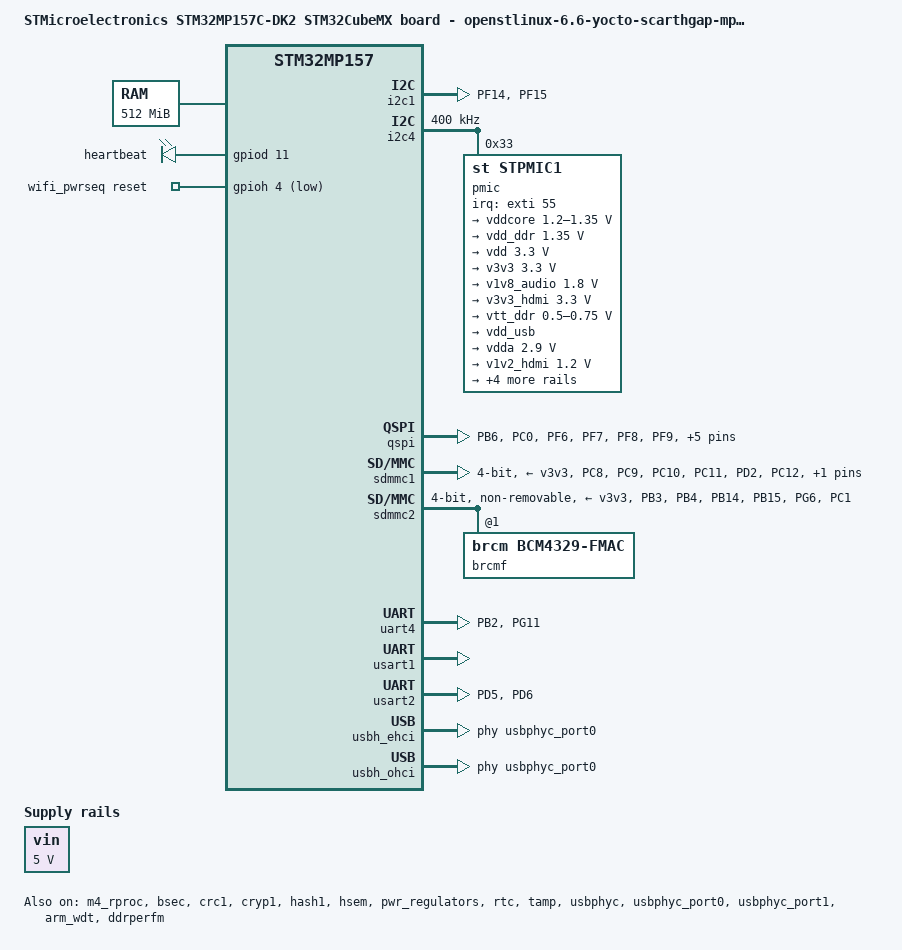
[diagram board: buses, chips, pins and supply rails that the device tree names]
// SPDX-License-Identifier: (GPL-2.0-or-later OR BSD-3-Clause)
/*
 * Copyright (C) 2026, STMicroelectronics - All Rights Reserved
 * Author: STM32CubeMX code generation for STMicroelectronics.
 */

/* For more information on Device Tree configuration, please refer to
 * https://wiki.st.com/stm32mpu/wiki/Category:Device_tree_configuration
 */

/dts-v1/;

#include <dt-bindings/pinctrl/stm32-pinfunc.h>
#include "stm32mp157.dtsi"
#include "stm32mp15xc.dtsi"
#include "stm32mp15xxac-pinctrl.dtsi"
#include "stm32mp15-m4-srm.dtsi"
#include "stm32mp15-scmi.dtsi"

/* USER CODE BEGIN includes */
#include <dt-bindings/gpio/gpio.h>
#include <dt-bindings/mfd/st,stpmic1.h>
#include <dt-bindings/rtc/rtc-stm32.h>
#include "stm32mp15-pinctrl.dtsi"
/* USER CODE END includes */

/ {
	model = "STMicroelectronics STM32MP157C-DK2 STM32CubeMX board - openstlinux-6.6-yocto-scarthgap-mpu-v25.06.11";
	compatible = "st,stm32mp157c-cube-mx", "st,stm32mp157c-dk2", "st,stm32mp157";

	memory@c0000000 {
		device_type = "memory";
		reg = <0xc0000000 0x20000000>;

		/* USER CODE BEGIN memory */
		/* USER CODE END memory */
	};

	reserved-memory {
		#address-cells = <1>;
		#size-cells = <1>;
		ranges;

		/* USER CODE BEGIN reserved-memory */

		mcuram2:mcuram2@10000000{
			compatible = "shared-dma-pool";
			reg = <0x10000000 0x40000>;
			no-map;
		};

		vdev0vring0:vdev0vring0@10040000{
			compatible = "shared-dma-pool";
			reg = <0x10040000 0x1000>;
			no-map;
		};

		vdev0vring1:vdev0vring1@10041000{
			compatible = "shared-dma-pool";
			reg = <0x10041000 0x1000>;
			no-map;
		};

		vdev0buffer:vdev0buffer@10042000{
			compatible = "shared-dma-pool";
			reg = <0x10042000 0x4000>;
			no-map;
		};

		mcu_rsc_table:mcu-rsc-table@10048000{
			compatible = "shared-dma-pool";
			reg = <0x10048000 0x8000>;
			no-map;
		};

		mcuram:mcuram@30000000{
			compatible = "shared-dma-pool";
			reg = <0x30000000 0x40000>;
			no-map;
		};

		retram:retram@38000000{
			compatible = "shared-dma-pool";
			reg = <0x38000000 0x10000>;
			no-map;
		};

		gpu_reserved:gpu@d4000000{
			reg = <0xd4000000 0x4000000>;
			no-map;
		};

		linux,cma{
			compatible = "shared-dma-pool";
			reusable;
			size = <0x8000000>;
			alignment = <0x2000>;
			linux,cma-default;
		};

		optee@de000000{
			reg = <0xde000000 0x2000000>;
			no-map;
		};
		/* USER CODE END reserved-memory */
	};

	/* USER CODE BEGIN root */

	aliases{
		ethernet0 = &ethernet0;
		serial0 = &uart4;
		serial1 = &usart3;
		serial2 = &uart7;
		serial3 = &usart2;
	};

	led{
		compatible = "gpio-leds";

		led-blue{
			label = "heartbeat";
			gpios = <&gpiod 11 GPIO_ACTIVE_HIGH>;
			linux,default-trigger = "heartbeat";
			default-state = "off";
		};
	};

	vin:vin{
		compatible = "regulator-fixed";
		regulator-name = "vin";
		regulator-min-microvolt = <5000000>;
		regulator-max-microvolt = <5000000>;
		regulator-always-on;
	};

	chosen{
		#address-cells = <1>;
		#size-cells = <1>;
		ranges;
		stdout-path = "serial0:115200n8";

		framebuffer {
			compatible = "simple-framebuffer";
			clocks = <&rcc LTDC_PX>, <&rcc DSI>, <&rcc DSI_PX>;
			status = "disabled";
		};
	};

	wifi_pwrseq:wifi-pwrseq{
		compatible = "mmc-pwrseq-simple";
		reset-gpios = <&gpioh 4 GPIO_ACTIVE_LOW>;
	};
	/* USER CODE END root */

	clocks{

		/* USER CODE BEGIN clocks */
		/* USER CODE END clocks */
	};

}; /*root*/

&pinctrl {

	i2c1_pins_mx: i2c1_mx-0 {
		pins {
			pinmux = <STM32_PINMUX('F', 14, AF5)>, /* I2C1_SCL */
					 <STM32_PINMUX('F', 15, AF5)>; /* I2C1_SDA */
			bias-disable;
			drive-open-drain;
			slew-rate = <0>;
		};
	};

	i2c1_sleep_pins_mx: i2c1_sleep_mx-0 {
		pins {
			pinmux = <STM32_PINMUX('F', 14, ANALOG)>, /* I2C1_SCL */
					 <STM32_PINMUX('F', 15, ANALOG)>; /* I2C1_SDA */
		};
	};

	quadspi_pins_mx: quadspi_mx-0 {
		pins1 {
			pinmux = <STM32_PINMUX('B', 6, AF10)>, /* QUADSPI_BK1_NCS */
					 <STM32_PINMUX('C', 0, AF10)>, /* QUADSPI_BK2_NCS */
					 <STM32_PINMUX('F', 6, AF9)>, /* QUADSPI_BK1_IO3 */
					 <STM32_PINMUX('F', 7, AF9)>, /* QUADSPI_BK1_IO2 */
					 <STM32_PINMUX('F', 8, AF10)>, /* QUADSPI_BK1_IO0 */
					 <STM32_PINMUX('F', 9, AF10)>, /* QUADSPI_BK1_IO1 */
					 <STM32_PINMUX('G', 7, AF11)>, /* QUADSPI_BK2_IO3 */
					 <STM32_PINMUX('G', 10, AF11)>, /* QUADSPI_BK2_IO2 */
					 <STM32_PINMUX('H', 2, AF9)>, /* QUADSPI_BK2_IO0 */
					 <STM32_PINMUX('H', 3, AF9)>; /* QUADSPI_BK2_IO1 */
			bias-disable;
			drive-push-pull;
			slew-rate = <1>;
		};
		pins2 {
			pinmux = <STM32_PINMUX('F', 10, AF9)>; /* QUADSPI_CLK */
			bias-disable;
			drive-push-pull;
			slew-rate = <2>;
		};
	};

	quadspi_sleep_pins_mx: quadspi_sleep_mx-0 {
		pins {
			pinmux = <STM32_PINMUX('B', 6, ANALOG)>, /* QUADSPI_BK1_NCS */
					 <STM32_PINMUX('C', 0, ANALOG)>, /* QUADSPI_BK2_NCS */
					 <STM32_PINMUX('F', 6, ANALOG)>, /* QUADSPI_BK1_IO3 */
					 <STM32_PINMUX('F', 7, ANALOG)>, /* QUADSPI_BK1_IO2 */
					 <STM32_PINMUX('F', 8, ANALOG)>, /* QUADSPI_BK1_IO0 */
					 <STM32_PINMUX('F', 9, ANALOG)>, /* QUADSPI_BK1_IO1 */
					 <STM32_PINMUX('F', 10, ANALOG)>, /* QUADSPI_CLK */
					 <STM32_PINMUX('G', 7, ANALOG)>, /* QUADSPI_BK2_IO3 */
					 <STM32_PINMUX('G', 10, ANALOG)>, /* QUADSPI_BK2_IO2 */
					 <STM32_PINMUX('H', 2, ANALOG)>, /* QUADSPI_BK2_IO0 */
					 <STM32_PINMUX('H', 3, ANALOG)>; /* QUADSPI_BK2_IO1 */
		};
	};

	sdmmc1_pins_mx: sdmmc1_mx-0 {
		pins1 {
			pinmux = <STM32_PINMUX('C', 8, AF12)>, /* SDMMC1_D0 */
					 <STM32_PINMUX('C', 9, AF12)>, /* SDMMC1_D1 */
					 <STM32_PINMUX('C', 10, AF12)>, /* SDMMC1_D2 */
					 <STM32_PINMUX('C', 11, AF12)>, /* SDMMC1_D3 */
					 <STM32_PINMUX('D', 2, AF12)>; /* SDMMC1_CMD */
			bias-disable;
			drive-push-pull;
			slew-rate = <1>;
		};
		pins2 {
			pinmux = <STM32_PINMUX('C', 12, AF12)>; /* SDMMC1_CK */
			bias-disable;
			drive-push-pull;
			slew-rate = <2>;
		};
	};

	sdmmc1_opendrain_pins_mx: sdmmc1_opendrain_mx-0 {
		pins1 {
			pinmux = <STM32_PINMUX('C', 8, AF12)>, /* SDMMC1_D0 */
					 <STM32_PINMUX('C', 9, AF12)>, /* SDMMC1_D1 */
					 <STM32_PINMUX('C', 10, AF12)>, /* SDMMC1_D2 */
					 <STM32_PINMUX('C', 11, AF12)>; /* SDMMC1_D3 */
			bias-disable;
			drive-push-pull;
			slew-rate = <1>;
		};
		pins2 {
			pinmux = <STM32_PINMUX('C', 12, AF12)>; /* SDMMC1_CK */
			bias-disable;
			drive-push-pull;
			slew-rate = <2>;
		};
		pins3 {
			pinmux = <STM32_PINMUX('D', 2, AF12)>; /* SDMMC1_CMD */
			bias-disable;
			drive-open-drain;
			slew-rate = <1>;
		};
	};

	sdmmc1_sleep_pins_mx: sdmmc1_sleep_mx-0 {
		pins {
			pinmux = <STM32_PINMUX('C', 8, ANALOG)>, /* SDMMC1_D0 */
					 <STM32_PINMUX('C', 9, ANALOG)>, /* SDMMC1_D1 */
					 <STM32_PINMUX('C', 10, ANALOG)>, /* SDMMC1_D2 */
					 <STM32_PINMUX('C', 11, ANALOG)>, /* SDMMC1_D3 */
					 <STM32_PINMUX('C', 12, ANALOG)>, /* SDMMC1_CK */
					 <STM32_PINMUX('D', 2, ANALOG)>; /* SDMMC1_CMD */
		};
	};

	sdmmc2_pins_mx: sdmmc2_mx-0 {
		pins1 {
			pinmux = <STM32_PINMUX('B', 3, AF9)>, /* SDMMC2_D2 */
					 <STM32_PINMUX('B', 4, AF9)>, /* SDMMC2_D3 */
					 <STM32_PINMUX('B', 14, AF9)>, /* SDMMC2_D0 */
					 <STM32_PINMUX('B', 15, AF9)>, /* SDMMC2_D1 */
					 <STM32_PINMUX('G', 6, AF10)>; /* SDMMC2_CMD */
			bias-disable;
			drive-push-pull;
			slew-rate = <1>;
		};
		pins2 {
			pinmux = <STM32_PINMUX('C', 1, AF9)>; /* SDMMC2_CK */
			bias-disable;
			drive-push-pull;
			slew-rate = <3>;
		};
	};

	sdmmc2_opendrain_pins_mx: sdmmc2_opendrain_mx-0 {
		pins1 {
			pinmux = <STM32_PINMUX('B', 3, AF9)>, /* SDMMC2_D2 */
					 <STM32_PINMUX('B', 4, AF9)>, /* SDMMC2_D3 */
					 <STM32_PINMUX('B', 14, AF9)>, /* SDMMC2_D0 */
					 <STM32_PINMUX('B', 15, AF9)>; /* SDMMC2_D1 */
			bias-disable;
			drive-push-pull;
			slew-rate = <1>;
		};
		pins2 {
			pinmux = <STM32_PINMUX('C', 1, AF9)>; /* SDMMC2_CK */
			bias-disable;
			drive-push-pull;
			slew-rate = <3>;
		};
		pins3 {
			pinmux = <STM32_PINMUX('G', 6, AF10)>; /* SDMMC2_CMD */
			bias-disable;
			drive-open-drain;
			slew-rate = <1>;
		};
	};

	sdmmc2_sleep_pins_mx: sdmmc2_sleep_mx-0 {
		pins {
			pinmux = <STM32_PINMUX('B', 3, ANALOG)>, /* SDMMC2_D2 */
					 <STM32_PINMUX('B', 4, ANALOG)>, /* SDMMC2_D3 */
					 <STM32_PINMUX('B', 14, ANALOG)>, /* SDMMC2_D0 */
					 <STM32_PINMUX('B', 15, ANALOG)>, /* SDMMC2_D1 */
					 <STM32_PINMUX('C', 1, ANALOG)>, /* SDMMC2_CK */
					 <STM32_PINMUX('G', 6, ANALOG)>; /* SDMMC2_CMD */
		};
	};

	uart4_pins_mx: uart4_mx-0 {
		pins1 {
			pinmux = <STM32_PINMUX('B', 2, AF8)>; /* UART4_RX */
			bias-disable;
		};
		pins2 {
			pinmux = <STM32_PINMUX('G', 11, AF6)>; /* UART4_TX */
			bias-disable;
			drive-push-pull;
			slew-rate = <0>;
		};
	};

	uart4_idle_pins_mx: uart4_idle_mx-0 {
		pins1 {
			pinmux = <STM32_PINMUX('B', 2, AF8)>; /* UART4_RX */
			bias-disable;
		};
		pins2 {
			pinmux = <STM32_PINMUX('G', 11, ANALOG)>; /* UART4_TX */
		};
	};

	uart4_sleep_pins_mx: uart4_sleep_mx-0 {
		pins {
			pinmux = <STM32_PINMUX('B', 2, ANALOG)>, /* UART4_RX */
					 <STM32_PINMUX('G', 11, ANALOG)>; /* UART4_TX */
		};
	};

	usart2_pins_mx: usart2_mx-0 {
		pins1 {
			pinmux = <STM32_PINMUX('D', 5, AF7)>; /* USART2_TX */
			bias-disable;
			drive-push-pull;
			slew-rate = <0>;
		};
		pins2 {
			pinmux = <STM32_PINMUX('D', 6, AF7)>; /* USART2_RX */
			bias-disable;
		};
	};

	usart2_idle_pins_mx: usart2_idle_mx-0 {
		pins1 {
			pinmux = <STM32_PINMUX('D', 5, ANALOG)>; /* USART2_TX */
		};
		pins2 {
			pinmux = <STM32_PINMUX('D', 6, AF7)>; /* USART2_RX */
			bias-disable;
		};
	};

	usart2_sleep_pins_mx: usart2_sleep_mx-0 {
		pins {
			pinmux = <STM32_PINMUX('D', 5, ANALOG)>, /* USART2_TX */
					 <STM32_PINMUX('D', 6, ANALOG)>; /* USART2_RX */
		};
	};

	/* USER CODE BEGIN pinctrl */
	/* USER CODE END pinctrl */
};

&pinctrl_z {

	i2c4_pins_z_mx: i2c4_mx-0 {
		pins {
			pinmux = <STM32_PINMUX('Z', 4, AF6)>, /* I2C4_SCL */
					 <STM32_PINMUX('Z', 5, AF6)>; /* I2C4_SDA */
			bias-disable;
			drive-open-drain;
			slew-rate = <0>;
		};
	};

	i2c4_sleep_pins_z_mx: i2c4_sleep_mx-0 {
		pins {
			pinmux = <STM32_PINMUX('Z', 4, ANALOG)>, /* I2C4_SCL */
					 <STM32_PINMUX('Z', 5, ANALOG)>; /* I2C4_SDA */
		};
	};

	usart1_pins_z_mx: usart1_mx-0 {
		pins1 {
			pinmux = <STM32_PINMUX('Z', 6, AF7)>; /* USART1_RX */
			bias-disable;
		};
		pins2 {
			pinmux = <STM32_PINMUX('Z', 7, AF7)>; /* USART1_TX */
			bias-disable;
			drive-push-pull;
			slew-rate = <0>;
		};
	};

	usart1_idle_pins_z_mx: usart1_idle_mx-0 {
		pins1 {
			pinmux = <STM32_PINMUX('Z', 6, AF7)>; /* USART1_RX */
			bias-disable;
		};
		pins2 {
			pinmux = <STM32_PINMUX('Z', 7, ANALOG)>; /* USART1_TX */
		};
	};

	usart1_sleep_pins_z_mx: usart1_sleep_mx-0 {
		pins {
			pinmux = <STM32_PINMUX('Z', 6, ANALOG)>, /* USART1_RX */
					 <STM32_PINMUX('Z', 7, ANALOG)>; /* USART1_TX */
		};
	};

	/* USER CODE BEGIN pinctrl_z */
	/* USER CODE END pinctrl_z */
};

&m4_rproc{
	/*Restriction: "memory-region" property is not managed - please to use User-Section if needed*/
	mboxes = <&ipcc 2>;
	mbox-names = "shutdown";
	status = "okay";

	/* USER CODE BEGIN m4_rproc */
	memory-region = <&retram>, <&mcuram>, <&mcuram2>, <&vdev0vring0>,
			<&vdev0vring1>, <&vdev0buffer>, <&mcu_rsc_table>;
	interrupt-parent = <&exti>;
	interrupts = <68 1>;
	wakeup-source;
	resets = <&scmi_reset RST_SCMI_MCU>,
			<&scmi_reset RST_SCMI_MCU_HOLD_BOOT>;
	reset-names = "mcu_rst", "hold_boot";
	/delete-property/ st,syscfg-holdboot;
	/* USER CODE END m4_rproc */
};

&bsec {
	status = "okay";

	/* USER CODE BEGIN bsec */
	/* USER CODE END bsec */
};

&crc1 {
	status = "okay";

	/* USER CODE BEGIN crc1 */
	/* USER CODE END crc1 */
};

&cryp1 {
	status = "okay";

	/* USER CODE BEGIN cryp1 */
	clocks = <&scmi_clk CK_SCMI_CRYP1>;
	resets = <&scmi_reset RST_SCMI_CRYP1>;
	/* USER CODE END cryp1 */
};

&dma1 {
	status = "okay";

	/* USER CODE BEGIN dma1 */
	/* USER CODE END dma1 */
};

&dma2 {
	status = "okay";

	/* USER CODE BEGIN dma2 */
	/* USER CODE END dma2 */
};

&dmamux1 {
	status = "okay";

	dma-masters = <&dma1 &dma2>;
	dma-channels = <16>;

	/* USER CODE BEGIN dmamux1 */
	/* USER CODE END dmamux1 */
};

&hash1 {
	status = "okay";

	/* USER CODE BEGIN hash1 */
	clocks = <&scmi_clk CK_SCMI_HASH1>;
	resets = <&scmi_reset RST_SCMI_HASH1>;
	/* USER CODE END hash1 */
};

&hsem {
	status = "okay";

	/* USER CODE BEGIN hsem */
	/* USER CODE END hsem */
};

&i2c1 {
	pinctrl-names = "default", "sleep";
	pinctrl-0 = <&i2c1_pins_mx>;
	pinctrl-1 = <&i2c1_sleep_pins_mx>;
	status = "okay";

	/* USER CODE BEGIN i2c1 */
	i2c-scl-rising-time-ns = <100>;
	i2c-scl-falling-time-ns = <7>;
	/delete-property/ dmas;
	/delete-property/ dma-names;
	/* USER CODE END i2c1 */
};

&i2c4 {
	pinctrl-names = "default", "sleep";
	pinctrl-0 = <&i2c4_pins_z_mx>;
	pinctrl-1 = <&i2c4_sleep_pins_z_mx>;
	status = "okay";

	/* USER CODE BEGIN i2c4 */
	i2c-scl-rising-time-ns = <185>;
	i2c-scl-falling-time-ns = <20>;
	clock-frequency = <400000>;
	/delete-property/ dmas;
	/delete-property/ dma-names;
	clocks = <&scmi_clk CK_SCMI_I2C4>;
	resets = <&scmi_reset RST_SCMI_I2C4>;

	pmic:stpmic@33{
		compatible = "st,stpmic1";
		reg = <0x33>;
		interrupts-extended = <&exti 55 IRQ_TYPE_EDGE_FALLING>;
		interrupt-controller;
		#interrupt-cells = <2>;
		status = "okay";

		regulators{
			compatible = "st,stpmic1-regulators";
			buck1-supply = <&vin>;
			buck2-supply = <&vin>;
			buck3-supply = <&vin>;
			buck4-supply = <&vin>;
			ldo1-supply = <&v3v3>;
			ldo2-supply = <&vin>;
			ldo3-supply = <&vdd_ddr>;
			ldo4-supply = <&vin>;
			ldo5-supply = <&vin>;
			ldo6-supply = <&v3v3>;
			vref_ddr-supply = <&vin>;
			boost-supply = <&vin>;
			pwr_sw1-supply = <&bst_out>;
			pwr_sw2-supply = <&bst_out>;

			vddcore:buck1{
				regulator-name = "vddcore";
				regulator-min-microvolt = <1200000>;
				regulator-max-microvolt = <1350000>;
				regulator-always-on;
				regulator-initial-mode = <0>;
				regulator-over-current-protection;
			};

			vdd_ddr:buck2{
				regulator-name = "vdd_ddr";
				regulator-min-microvolt = <1350000>;
				regulator-max-microvolt = <1350000>;
				regulator-always-on;
				regulator-initial-mode = <0>;
				regulator-over-current-protection;
			};

			vdd:buck3{
				regulator-name = "vdd";
				regulator-min-microvolt = <3300000>;
				regulator-max-microvolt = <3300000>;
				regulator-always-on;
				st,mask-reset;
				regulator-initial-mode = <0>;
				regulator-over-current-protection;
			};

			v3v3:buck4{
				regulator-name = "v3v3";
				regulator-min-microvolt = <3300000>;
				regulator-max-microvolt = <3300000>;
				regulator-always-on;
				regulator-over-current-protection;
				regulator-initial-mode = <0>;
			};

			v1v8_audio:ldo1{
				regulator-name = "v1v8_audio";
				regulator-min-microvolt = <1800000>;
				regulator-max-microvolt = <1800000>;
				regulator-always-on;
				interrupts = <IT_CURLIM_LDO1 0>;
			};

			v3v3_hdmi:ldo2{
				regulator-name = "v3v3_hdmi";
				regulator-min-microvolt = <3300000>;
				regulator-max-microvolt = <3300000>;
				regulator-always-on;
				interrupts = <IT_CURLIM_LDO2 0>;
			};

			vtt_ddr:ldo3{
				regulator-name = "vtt_ddr";
				regulator-min-microvolt = <500000>;
				regulator-max-microvolt = <750000>;
				regulator-always-on;
				regulator-over-current-protection;
			};

			vdd_usb:ldo4{
				regulator-name = "vdd_usb";
				interrupts = <IT_CURLIM_LDO4 0>;
			};

			vdda:ldo5{
				regulator-name = "vdda";
				regulator-min-microvolt = <2900000>;
				regulator-max-microvolt = <2900000>;
				interrupts = <IT_CURLIM_LDO5 0>;
				regulator-boot-on;
			};

			v1v2_hdmi:ldo6{
				regulator-name = "v1v2_hdmi";
				regulator-min-microvolt = <1200000>;
				regulator-max-microvolt = <1200000>;
				regulator-always-on;
				interrupts = <IT_CURLIM_LDO6 0>;
			};

			vref_ddr:vref-ddr{
				regulator-name = "vref_ddr";
				regulator-always-on;
			};

			bst_out:boost{
				regulator-name = "bst_out";
				interrupts = <IT_OCP_BOOST 0>;
			};

			vbus_otg:pwr-sw1{
				regulator-name = "vbus_otg";
				interrupts = <IT_OCP_OTG 0>;
			};

			vbus_sw:pwr-sw2{
				regulator-name = "vbus_sw";
				interrupts = <IT_OCP_SWOUT 0>;
				regulator-active-discharge = <1>;
			};
		};

		onkey{
			compatible = "st,stpmic1-onkey";
			interrupts = <IT_PONKEY_F 0>, <IT_PONKEY_R 0>;
			interrupt-names = "onkey-falling", "onkey-rising";
			power-off-time-sec = <10>;
			status = "okay";
		};
	};
	/* USER CODE END i2c4 */
};

&ipcc {
	status = "okay";

	/* USER CODE BEGIN ipcc */
	/* USER CODE END ipcc */
};

&mdma1 {
	status = "okay";

	/* USER CODE BEGIN mdma1 */
	resets = <&scmi_reset RST_SCMI_MDMA>;
	/* USER CODE END mdma1 */
};

&pwr_regulators {
	status = "okay";

	/* USER CODE BEGIN pwr_regulators */
	vdd-supply = <&vdd>;
	vdd_3v3_usbfs-supply = <&vdd_usb>;
	/* USER CODE END pwr_regulators */
};

&qspi {
	pinctrl-names = "default", "sleep";
	pinctrl-0 = <&quadspi_pins_mx>;
	pinctrl-1 = <&quadspi_sleep_pins_mx>;
	status = "okay";

	/* USER CODE BEGIN qspi */
	/* USER CODE END qspi */
};

&rcc {
	status = "okay";

	/* USER CODE BEGIN rcc */
	compatible = "st,stm32mp1-rcc-secure", "syscon";
	clock-names = "hse", "hsi", "csi", "lse", "lsi";
	clocks = <&scmi_clk CK_SCMI_HSE>,
			<&scmi_clk CK_SCMI_HSI>,
			<&scmi_clk CK_SCMI_CSI>,
			<&scmi_clk CK_SCMI_LSE>,
			<&scmi_clk CK_SCMI_LSI>;
	/* USER CODE END rcc */
};

&rtc {
	status = "okay";

	/* USER CODE BEGIN rtc */
	clocks = <&scmi_clk CK_SCMI_RTCAPB>, <&scmi_clk CK_SCMI_RTC>;
	st,lsco = <RTC_OUT2_RMP>;
	/* USER CODE END rtc */
};

&sdmmc1 {
	pinctrl-names = "default", "opendrain", "sleep";
	pinctrl-0 = <&sdmmc1_pins_mx>;
	pinctrl-1 = <&sdmmc1_opendrain_pins_mx>;
	pinctrl-2 = <&sdmmc1_sleep_pins_mx>;
	status = "okay";

	/* USER CODE BEGIN sdmmc1 */
	cd-gpios = <&gpiob 7 (GPIO_ACTIVE_LOW | GPIO_PULL_UP)>;
	disable-wp;
	st,neg-edge;
	bus-width = <4>;
	vmmc-supply = <&v3v3>;
	/* USER CODE END sdmmc1 */
};

&sdmmc2 {
	pinctrl-names = "default", "opendrain", "sleep";
	pinctrl-0 = <&sdmmc2_pins_mx>;
	pinctrl-1 = <&sdmmc2_opendrain_pins_mx>;
	pinctrl-2 = <&sdmmc2_sleep_pins_mx>;
	status = "okay";

	/* USER CODE BEGIN sdmmc2 */
	non-removable;
	cap-sdio-irq;
	st,neg-edge;
	bus-width = <4>;
	vmmc-supply = <&v3v3>;
	mmc-pwrseq = <&wifi_pwrseq>;
	#address-cells = <1>;
	#size-cells = <0>;

	brcmf:bcrmf@1{
		reg = <1>;
		compatible = "brcm,bcm4329-fmac";
	};
	/* USER CODE END sdmmc2 */
};

&tamp {
	status = "okay";

	/* USER CODE BEGIN tamp */
	/* USER CODE END tamp */
};

&uart4 {
	pinctrl-names = "default", "idle", "sleep";
	pinctrl-0 = <&uart4_pins_mx>;
	pinctrl-1 = <&uart4_idle_pins_mx>;
	pinctrl-2 = <&uart4_sleep_pins_mx>;
	status = "okay";

	/* USER CODE BEGIN uart4 */
	/delete-property/ dmas;
	/delete-property/ dma-names;
	/* USER CODE END uart4 */
};

&usart1 {
	pinctrl-names = "default", "idle", "sleep";
	pinctrl-0 = <&usart1_pins_z_mx>;
	pinctrl-1 = <&usart1_idle_pins_z_mx>;
	pinctrl-2 = <&usart1_sleep_pins_z_mx>;
	status = "okay";

	/* USER CODE BEGIN usart1 */
	/* USER CODE END usart1 */
};

&usart2 {
	pinctrl-names = "default", "idle", "sleep";
	pinctrl-0 = <&usart2_pins_mx>;
	pinctrl-1 = <&usart2_idle_pins_mx>;
	pinctrl-2 = <&usart2_sleep_pins_mx>;
	status = "okay";

	/* USER CODE BEGIN usart2 */
	/* USER CODE END usart2 */
};

&usbh_ehci {
	status = "okay";

	/* USER CODE BEGIN usbh_ehci */
	phys = <&usbphyc_port0>;
	#address-cells = <1>;
	#size-cells = <0>;
	/* USER CODE END usbh_ehci */
};

&usbh_ohci {
	status = "okay";

	/* USER CODE BEGIN usbh_ohci */
	/* USER CODE END usbh_ohci */
};

&usbphyc {
	status = "okay";

	/* USER CODE BEGIN usbphyc */
	/* USER CODE END usbphyc */
};

&usbphyc_port0 {
	status = "okay";

	/* USER CODE BEGIN usbphyc_port0 */
	phy-supply = <&vdd_usb>;
	st,tune-hs-dc-level = <2>;
	st,enable-fs-rftime-tuning;
	st,enable-hs-rftime-reduction;
	st,trim-hs-current = <15>;
	st,trim-hs-impedance = <1>;
	st,tune-squelch-level = <3>;
	st,tune-hs-rx-offset = <2>;
	st,no-lsfs-sc;
	/* USER CODE END usbphyc_port0 */
};

&usbphyc_port1 {
	status = "okay";

	/* USER CODE BEGIN usbphyc_port1 */
	phy-supply = <&vdd_usb>;
	st,tune-hs-dc-level = <2>;
	st,enable-fs-rftime-tuning;
	st,enable-hs-rftime-reduction;
	st,trim-hs-current = <15>;
	st,trim-hs-impedance = <1>;
	st,tune-squelch-level = <3>;
	st,tune-hs-rx-offset = <2>;
	st,no-lsfs-sc;
	/* USER CODE END usbphyc_port1 */
};

/* USER CODE BEGIN addons */

&arm_wdt {
	timeout-sec = <32>;
	status = "okay";
};

&cpu0 {
	cpu-supply = <&vddcore>;
	clocks = <&scmi_clk CK_SCMI_MPU>;
};

&cpu1 {
	cpu-supply = <&vddcore>;
	clocks = <&scmi_clk CK_SCMI_MPU>;
};

&gpioz {
	clocks = <&scmi_clk CK_SCMI_GPIOZ>;
};

&i2c6 {
	clocks = <&scmi_clk CK_SCMI_I2C6>;
	resets = <&scmi_reset RST_SCMI_I2C6>;
};

&iwdg2 {
	clocks = <&rcc IWDG2>, <&scmi_clk CK_SCMI_LSI>;
};

&mlahb {
	resets = <&scmi_reset RST_SCMI_MCU>;
};

&rng1 {
	clocks = <&scmi_clk CK_SCMI_RNG1>;
	resets = <&scmi_reset RST_SCMI_RNG1>;
};

&usart1 {
	clocks = <&scmi_clk CK_SCMI_USART1>;
};

&ddrperfm {
	status = "okay";
};

&pinctrl{
	stusb1600_pins_a:stusb1600-0{

		pins{
			bias-pull-up;
			pinmux = <STM32_PINMUX('I', 11, GPIO)>;
		};
	};
};

&usbh_ohci{
	phys = <&usbphyc_port0>;
};

/delete-node/ &dsi;
/* USER CODE END addons */

